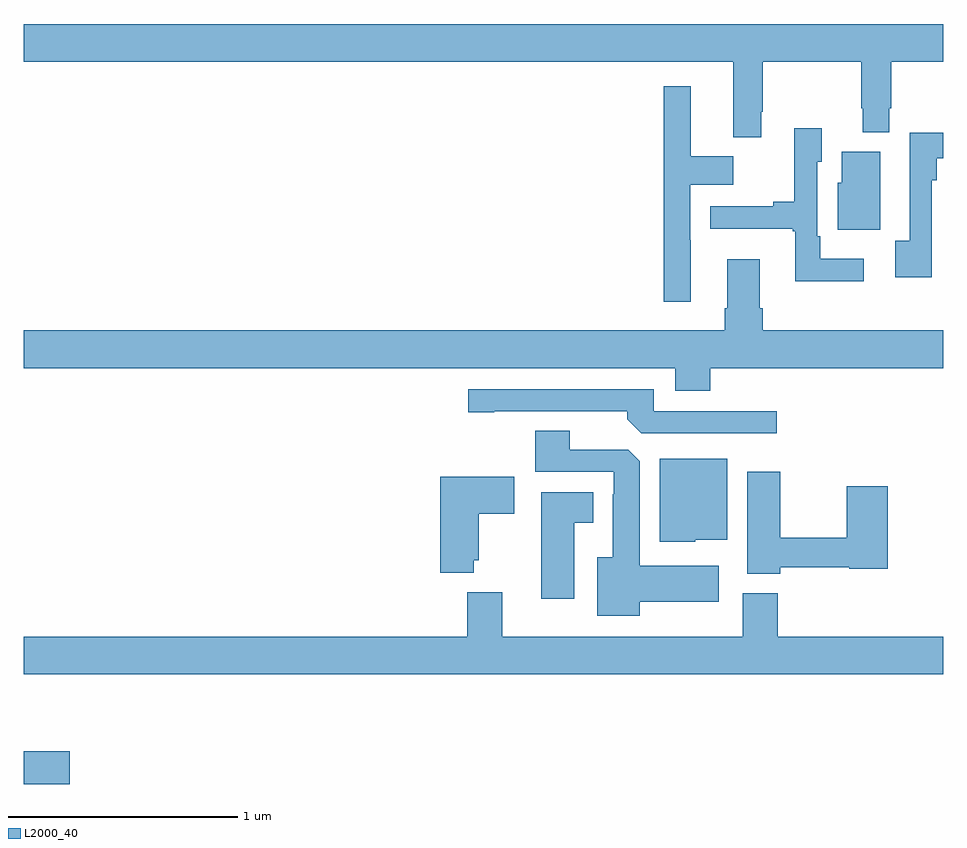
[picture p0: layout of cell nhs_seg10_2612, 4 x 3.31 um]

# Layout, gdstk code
import gdstk
lib = gdstk.Library(unit=1e-6, precision=1e-09)
def R(c, l, rs):  # rectangles x0, y0, x1, y1
    for r in rs: c.add(gdstk.rectangle(r[:2], r[2:], *l))
def P(c, l, *ps):  # polygons
    for p in ps: c.add(gdstk.Polygon(p, *l))
L2000_40 = (2000, 40)

nhs_seg10_2612 = lib.new_cell('nhs_seg10_2612')
R(nhs_seg10_2612, L2000_40, [(253,1254.551,253.201,1254.693)])
P(nhs_seg10_2612, L2000_40, [(256.207,1257.475),(256.215,1257.475),(256.215,1257.692),(256.642,1257.692),(256.642,1257.49),(256.649,1257.49),(256.649,1257.385),(256.765,1257.385),(256.765,1257.49),(256.773,1257.49),(256.773,1257.692),(257,1257.692),(257,1257.856),(253,1257.856),(253,1257.692),(256.085,1257.692),(256.085,1257.363),(256.207,1257.363)],
  [(255.901,1256.915),(255.9,1256.915),(255.9,1257.158),(256.085,1257.158),(256.085,1257.28),(255.902,1257.28),(255.902,1257.586),(255.784,1257.586),(255.784,1256.649),(255.901,1256.649)],
  [(256.654,1256.835),(256.465,1256.835),(256.465,1256.932),(256.452,1256.932),(256.452,1257.258),(256.471,1257.258),(256.471,1257.403),(256.351,1257.403),(256.351,1257.083),(256.259,1257.083),(256.259,1257.063),(255.985,1257.063),(255.985,1256.966),(256.344,1256.966),(256.344,1256.955),(256.355,1256.955),(256.355,1256.738),(256.654,1256.738)],
  [(256.95,1257.176),(256.97,1257.176),(256.97,1257.272),(257,1257.272),(257,1257.382),(256.854,1257.382),(256.854,1256.913),(256.791,1256.913),(256.791,1256.754),(256.95,1256.754)],
  [(256.725,1257.064),(256.726,1257.064),(256.726,1257.3),(256.559,1257.3),(256.559,1257.165),(256.541,1257.165),(256.541,1256.961),(256.725,1256.961)],
  [(255.986,1256.36),(257,1256.36),(257,1256.524),(256.214,1256.524),(256.214,1256.62),(256.201,1256.62),(256.201,1256.833),(256.061,1256.833),(256.061,1256.62),(256.049,1256.62),(256.049,1256.524),(253,1256.524),(253,1256.36),(255.833,1256.36),(255.833,1256.261),(255.986,1256.261)],
  [(256.276,1256.172),(255.741,1256.172),(255.741,1256.268),(254.934,1256.268),(254.934,1256.167),(255.046,1256.167),(255.046,1256.172),(255.626,1256.172),(255.626,1256.138),(255.687,1256.076),(256.276,1256.076)],
  [(255.679,1255.343),(256.024,1255.343),(256.024,1255.501),(255.679,1255.501),(255.679,1255.955),(255.63,1256.004),(255.376,1256.004),(255.376,1256.087),(255.224,1256.087),(255.224,1255.908),(255.567,1255.908),(255.567,1255.811),(255.563,1255.811),(255.563,1255.537),(255.494,1255.537),(255.494,1255.283),(255.679,1255.283)],
  [(255.921,1255.613),(256.06,1255.613),(256.06,1255.966),(255.767,1255.966),(255.767,1255.604),(255.921,1255.604)],
  [(256.29,1255.494),(256.59,1255.494),(256.59,1255.486),(256.757,1255.486),(256.757,1255.846),(256.579,1255.846),(256.579,1255.622),(256.29,1255.622),(256.29,1255.909),(256.148,1255.909),(256.148,1255.466),(256.29,1255.466)],
  [(254.958,1255.523),(254.98,1255.523),(254.98,1255.726),(255.133,1255.726),(255.133,1255.888),(254.813,1255.888),(254.813,1255.469),(254.958,1255.469)],
  [(255.394,1255.688),(255.478,1255.688),(255.478,1255.819),(255.251,1255.819),(255.251,1255.356),(255.394,1255.356)],
  [(257,1255.192),(256.279,1255.192),(256.279,1255.381),(256.127,1255.381),(256.127,1255.192),(255.082,1255.192),(255.082,1255.384),(254.93,1255.384),(254.93,1255.192),(253,1255.192),(253,1255.028),(257,1255.028)])

lib.write_gds('nhs_seg10_2612.gds')
